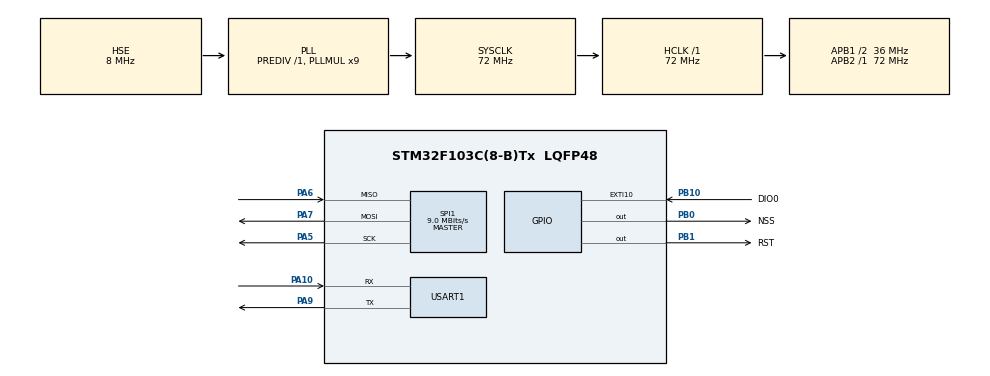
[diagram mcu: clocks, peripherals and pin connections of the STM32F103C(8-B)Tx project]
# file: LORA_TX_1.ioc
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Mcu.Family=STM32F1
Mcu.Name=STM32F103C(8-B)Tx
Mcu.Package=LQFP48
NVIC.PriorityGroup=NVIC_PRIORITYGROUP_4
PA10.Mode=Asynchronous
PA10.Signal=USART1_RX
PA13.Mode=Serial_Wire
PA13.Signal=SYS_JTMS-SWDIO
PA14.Mode=Serial_Wire
PA14.Signal=SYS_JTCK-SWCLK
PA5.Mode=Full_Duplex_Master
PA5.Signal=SPI1_SCK
PA6.Mode=Full_Duplex_Master
PA6.Signal=SPI1_MISO
PA7.Mode=Full_Duplex_Master
PA7.Signal=SPI1_MOSI
PA9.Mode=Asynchronous
PA9.Signal=USART1_TX
PB0.GPIO_Label=NSS
PB0.PinState=GPIO_PIN_SET
PB0.Signal=GPIO_Output
PB1.GPIO_Label=RST
PB1.PinState=GPIO_PIN_SET
PB1.Signal=GPIO_Output
PB10.GPIO_Label=DIO0
PB10.Signal=GPXTI10
PD0-OSC_IN.Mode=HSE-External-Oscillator
PD0-OSC_IN.Signal=RCC_OSC_IN
PD1-OSC_OUT.Mode=HSE-External-Oscillator
PD1-OSC_OUT.Signal=RCC_OSC_OUT
ProjectManager.HeapSize=0x200
ProjectManager.StackSize=0x400
ProjectManager.TargetToolchain=STM32CubeIDE
RCC.AHBFreq_Value=72000000
RCC.APB1CLKDivider=RCC_HCLK_DIV2
RCC.APB1Freq_Value=36000000
RCC.APB1TimFreq_Value=72000000
RCC.APB2Freq_Value=72000000
RCC.APB2TimFreq_Value=72000000
RCC.HCLKFreq_Value=72000000
RCC.PLLMUL=RCC_PLL_MUL9
RCC.PLLSourceVirtual=RCC_PLLSOURCE_HSE
RCC.SYSCLKFreq_VALUE=72000000
RCC.SYSCLKSource=RCC_SYSCLKSOURCE_PLLCLK
RCC.USBFreq_Value=72000000
SPI1.BaudRatePrescaler=SPI_BAUDRATEPRESCALER_8
SPI1.CalculateBaudRate=9.0 MBits/s
SPI1.Direction=SPI_DIRECTION_2LINES
SPI1.Mode=SPI_MODE_MASTER
SPI1.VirtualType=VM_MASTER
USART1.VirtualMode=VM_ASYNC
board=custom

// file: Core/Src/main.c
/* USER CODE BEGIN Header */
/**
  ******************************************************************************
  * @file           : main.c
  * @brief          : Main program body
  ******************************************************************************
  * @attention
  *
  * Copyright (c) 2025 STMicroelectronics.
  * All rights reserved.
  *
  * This software is licensed under terms that can be found in the LICENSE file
  * in the root directory of this software component.
  * If no LICENSE file comes with this software, it is provided AS-IS.
  *
  ******************************************************************************
  */
/* USER CODE END Header */
#include "main.h"
#include "spi.h"
#include "usart.h"
#include "gpio.h"

/* USER CODE BEGIN Includes */
#include "LoRa.h"
#include <string.h>
/* USER CODE END Includes */

/* USER CODE BEGIN PV */
LoRa myLoRa;
uint16_t LoRa_stat=0;
//uint8_t RxBuffer[128];
/* USER CODE END PV */

void SystemClock_Config(void);

int main(void)
{

  /* MCU Configuration--------------------------------------------------------*/

  /* Reset of all peripherals, Initializes the Flash interface and the Systick. */
  HAL_Init();

  /* Configure the system clock */
  SystemClock_Config();

  /* Initialize all configured peripherals */
  MX_GPIO_Init();
  MX_SPI1_Init();
  MX_USART1_UART_Init();
  /* USER CODE BEGIN 2 */
  myLoRa=newLoRa();

  myLoRa.CS_port         = NSS_GPIO_Port;
  myLoRa.CS_pin          = NSS_Pin;
  myLoRa.reset_port      = RST_GPIO_Port;
  myLoRa.reset_pin       = RST_Pin;
  myLoRa.DIO0_port       = DIO0_GPIO_Port;
  myLoRa.DIO0_pin        = DIO0_Pin;
  myLoRa.hSPIx           = &hspi1;

  myLoRa.frequency             = 433;             // default = 433 MHz
  myLoRa.spredingFactor        = SF_7;            // default = SF_7
  myLoRa.bandWidth             = BW_125KHz;       // default = BW_125KHz
  myLoRa.crcRate               = CR_4_5;          // default = CR_4_5
  myLoRa.power                 = POWER_17db;      // default = 20db
  myLoRa.overCurrentProtection = 100;             // default = 100 mA
  myLoRa.preamble              = 8;              // default = 8;

 if(LoRa_init(&myLoRa)==LORA_OK){
	 LoRa_stat=1;

 }

 //LoRa_startReceiving(&myLoRa);

 uint8_t TxBuffer[] = "Hello from LoRa TX!";
 int txLen = strlen((char*)TxBuffer);
//Transmit

  /* USER CODE END 2 */

  /* Infinite loop */
  /* USER CODE BEGIN WHILE */
  while (1)
  {
	  int status = LoRa_transmit(&myLoRa, TxBuffer, txLen, 500);

	   //  if (status != LORA_OK) {
	    //     const char *err = "TX ERR\r\n";
	    //     HAL_UART_Transmit(&huart1, (uint8_t*)err, strlen(err), 100);
	   //  } else {
	    //     const char *ok = "TX OK\r\n";
	     //    HAL_UART_Transmit(&huart1, (uint8_t*)ok, strlen(ok), 100);
	   //  }

	     HAL_Delay(1000);

    /* USER CODE END WHILE */

  }
}

void SystemClock_Config(void)
{
  RCC_OscInitTypeDef RCC_OscInitStruct = {0};
  RCC_ClkInitTypeDef RCC_ClkInitStruct = {0};

  /** Initializes the RCC Oscillators according to the specified parameters
  * in the RCC_OscInitTypeDef structure.
  */
  RCC_OscInitStruct.OscillatorType = RCC_OSCILLATORTYPE_HSE;
  RCC_OscInitStruct.HSEState = RCC_HSE_ON;
  RCC_OscInitStruct.HSEPredivValue = RCC_HSE_PREDIV_DIV1;
  RCC_OscInitStruct.HSIState = RCC_HSI_ON;
  RCC_OscInitStruct.PLL.PLLState = RCC_PLL_ON;
  RCC_OscInitStruct.PLL.PLLSource = RCC_PLLSOURCE_HSE;
  RCC_OscInitStruct.PLL.PLLMUL = RCC_PLL_MUL9;
  if (HAL_RCC_OscConfig(&RCC_OscInitStruct) != HAL_OK)
  {
    Error_Handler();
  }

  /** Initializes the CPU, AHB and APB buses clocks
  */
  RCC_ClkInitStruct.ClockType = RCC_CLOCKTYPE_HCLK|RCC_CLOCKTYPE_SYSCLK
                              |RCC_CLOCKTYPE_PCLK1|RCC_CLOCKTYPE_PCLK2;
  RCC_ClkInitStruct.SYSCLKSource = RCC_SYSCLKSOURCE_PLLCLK;
  RCC_ClkInitStruct.AHBCLKDivider = RCC_SYSCLK_DIV1;
  RCC_ClkInitStruct.APB1CLKDivider = RCC_HCLK_DIV2;
  RCC_ClkInitStruct.APB2CLKDivider = RCC_HCLK_DIV1;

  if (HAL_RCC_ClockConfig(&RCC_ClkInitStruct, FLASH_LATENCY_2) != HAL_OK)
  {
    Error_Handler();
  }
}

/* USER CODE BEGIN 4 */
/*
	void HAL_GPIO_EXTI_Callback(uint16_t GPIO_Pin)
{
	if(GPIO_Pin==DIO0_Pin){
		LoRa_recieve(&myLoRa,RxBuffer,128);
	}

}
*/
/* USER CODE END 4 */

void Error_Handler(void)
{
  __disable_irq();
  while (1)
  {
  }
}
